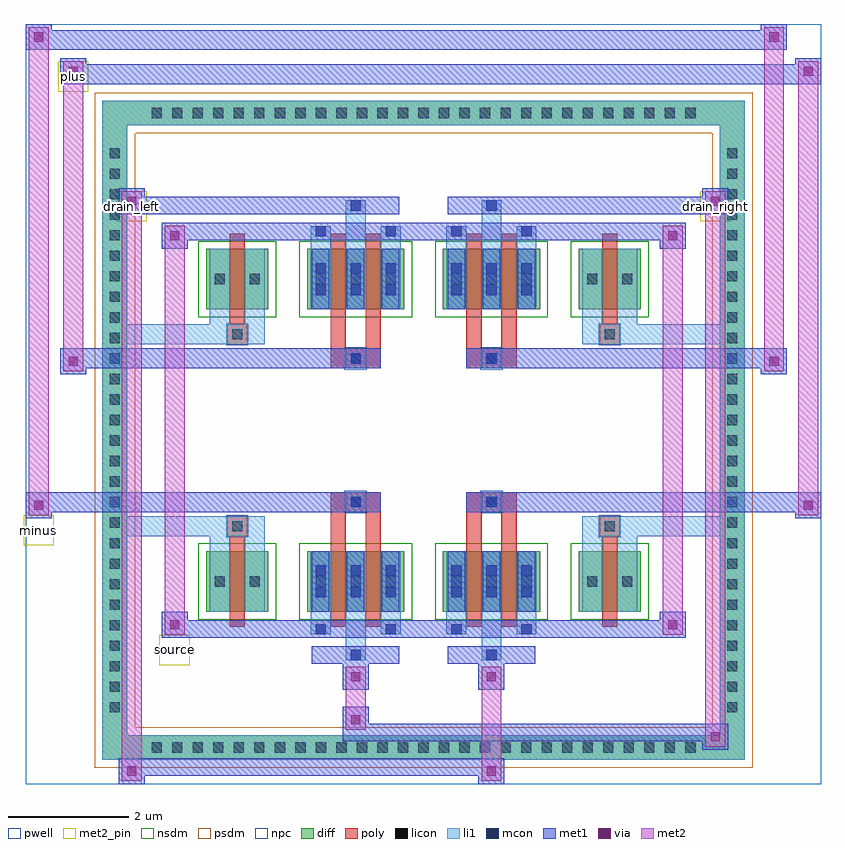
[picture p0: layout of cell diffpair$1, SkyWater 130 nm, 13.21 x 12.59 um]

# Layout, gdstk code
import gdstk
lib = gdstk.Library(unit=1e-6, precision=5e-09)
def R(c, l, rs):  # rectangles x0, y0, x1, y1
    for r in rs: c.add(gdstk.rectangle(r[:2], r[2:], *l))
def A(c, l, x, y, w, h, nx, ny, dx, dy):  # array of equal rectangles
    R(c, l, [(x+i*dx, y+j*dy, x+i*dx+w, y+j*dy+h) for i in range(nx) for j in range(ny)])
def P(c, l, *ps):  # polygons
    for p in ps: c.add(gdstk.Polygon(p, *l))
pwell = (64, 44)
diff = (65, 20)
poly = (66, 20)
licon = (66, 44)
li1 = (67, 20)
mcon = (67, 44)
met1 = (68, 20)
via = (68, 44)
met2_pin = (69, 16)
met2 = (69, 20)
nsdm = (93, 44)
psdm = (94, 20)
npc = (95, 20)

diffpair_1 = lib.new_cell('diffpair$1')
R(diffpair_1, pwell, [(-6.59,-5.86,6.59,6.73), (-3.91,-4.05,-0.01,-0.825), (0.01,-4.05,3.91,-0.825), (-3.91,0.825,-0.01,4.05), (0.01,0.825,3.91,4.05)])
A(diffpair_1, diff, -4.625, -5.46, 0.41, 0.41, 27, 2, 0.34, 10.51)
A(diffpair_1, diff, -5.32, -4.795, 0.41, 0.41, 1, 28, 0, 0.34)
A(diffpair_1, diff, 4.91, -4.795, 0.41, 0.41, 1, 28, 0, 0.34)
R(diffpair_1, diff, [(-4.625,-5.46,4.625,-5.05), (-5.32,-4.795,-4.91,4.795), (4.91,-4.795,5.32,4.795), (-3.6,-3.005,-2.57,-2.005), (-1.93,-3.005,-0.32,-2.005), (0.32,-3.005,1.93,-2.005), (2.57,-3.005,3.6,-2.005), (-3.6,2.005,-2.57,3.005), (-1.93,2.005,-0.32,3.005), (0.32,2.005,1.93,3.005), (2.57,2.005,3.6,3.005), (-4.625,5.05,4.625,5.46)])
P(diffpair_1, diff, [(5.32,5.46),(-5.32,5.46),(-5.32,-5.05),(-4.91,-5.05),(-4.91,5.05),(4.91,5.05),(4.91,-5.05),(-4.91,-5.05),(-5.32,-5.05),(-5.32,-5.46),(5.32,-5.46)])
R(diffpair_1, poly, [(-3.21,-3.255,-2.96,-1.755), (-1.54,-3.255,-1.29,-1.755), (-0.96,-3.255,-0.71,-1.755), (0.71,-3.255,0.96,-1.755), (1.29,-3.255,1.54,-1.755), (2.96,-3.255,3.21,-1.755), (-3.25,-1.755,-2.92,-1.425), (-3.25,-1.755,-2.92,-1.425), (-1.54,-1.755,-1.29,-1.355), (-0.96,-1.755,-0.71,-1.355), (0.71,-1.755,0.96,-1.355), (1.29,-1.755,1.54,-1.355), (2.92,-1.755,3.25,-1.425), (2.92,-1.755,3.25,-1.425), (-1.54,-1.355,-0.71,-1.025), (-1.29,-1.355,-0.96,-1.025), (0.71,-1.355,1.54,-1.025), (0.96,-1.355,1.29,-1.025), (-1.54,1.025,-0.71,1.355), (-1.29,1.025,-0.96,1.355), (0.71,1.025,1.54,1.355), (0.96,1.025,1.29,1.355), (-1.54,1.355,-1.29,1.755), (-0.96,1.355,-0.71,1.755), (0.71,1.355,0.96,1.755), (1.29,1.355,1.54,1.755), (-3.25,1.425,-2.92,1.755), (-3.25,1.425,-2.92,1.755), (2.92,1.425,3.25,1.755), (2.92,1.425,3.25,1.755), (-3.21,1.755,-2.96,3.255), (-1.54,1.755,-1.29,3.255), (-0.96,1.755,-0.71,3.255), (0.71,1.755,0.96,3.255), (1.29,1.755,1.54,3.255), (2.96,1.755,3.21,3.255)])
A(diffpair_1, licon, -4.505, -5.34, 0.17, 0.17, 27, 2, 0.34, 10.51)
A(diffpair_1, licon, -5.2, -4.675, 0.17, 0.17, 1, 28, 0, 0.34)
A(diffpair_1, licon, 5.03, -4.675, 0.17, 0.17, 1, 28, 0, 0.34)
A(diffpair_1, licon, -1.79, -2.59, 0.17, 0.17, 3, 2, 0.58, 5.01)
A(diffpair_1, licon, 0.46, -2.59, 0.17, 0.17, 3, 2, 0.58, 5.01)
R(diffpair_1, licon, [(-3.46,-2.59,-3.29,-2.42), (-2.88,-2.59,-2.71,-2.42), (2.71,-2.59,2.88,-2.42), (3.29,-2.59,3.46,-2.42), (-3.17,-1.675,-3,-1.505), (3,-1.675,3.17,-1.505), (-1.21,-1.275,-1.04,-1.105), (1.04,-1.275,1.21,-1.105), (-1.21,1.105,-1.04,1.275), (1.04,1.105,1.21,1.275), (-3.17,1.505,-3,1.675), (3,1.505,3.17,1.675), (-3.46,2.42,-3.29,2.59), (-2.88,2.42,-2.71,2.59), (2.71,2.42,2.88,2.59), (3.29,2.42,3.46,2.59)])
A(diffpair_1, li1, -4.585, -5.42, 0.33, 0.33, 27, 2, 0.34, 10.51)
A(diffpair_1, li1, -5.28, -4.755, 0.33, 0.33, 1, 28, 0, 0.34)
A(diffpair_1, li1, 4.95, -4.755, 0.33, 0.33, 1, 28, 0, 0.34)
A(diffpair_1, li1, -1.87, -3.005, 0.33, 1, 3, 2, 0.58, 5.01)
A(diffpair_1, li1, 0.38, -3.005, 0.33, 1, 3, 2, 0.58, 5.01)
A(diffpair_1, li1, -1.79, -2.77, 0.17, 0.17, 3, 2, 0.58, 0.36)
A(diffpair_1, li1, -1.79, -2.77, 0.17, 0.53, 3, 2, 0.58, 5.01)
A(diffpair_1, li1, 0.46, -2.77, 0.17, 0.17, 3, 2, 0.58, 0.36)
A(diffpair_1, li1, 0.46, -2.77, 0.17, 0.53, 3, 2, 0.58, 5.01)
A(diffpair_1, li1, -1.87, -2.67, 0.33, 0.33, 3, 2, 0.58, 5.01)
A(diffpair_1, li1, 0.38, -2.67, 0.33, 0.33, 3, 2, 0.58, 5.01)
A(diffpair_1, li1, -1.79, 2.24, 0.17, 0.17, 3, 2, 0.58, 0.36)
A(diffpair_1, li1, 0.46, 2.24, 0.17, 0.17, 3, 2, 0.58, 0.36)
R(diffpair_1, li1, [(-5.32,-5.46,-4.91,-5.05), (-5.32,-5.46,-4.91,-5.05), (-4.91,-5.46,4.91,-5.05), (4.91,-5.46,5.32,-5.05), (4.91,-5.46,5.32,-5.05), (-5.32,-5.05,-4.91,5.05), (4.91,-5.05,5.32,5.05), (-1.29,-3.81,-0.96,-3.005), (-1.21,-3.81,-1.04,-3.64), (0.96,-3.81,1.29,-3.005), (1.04,-3.81,1.21,-3.64), (-1.87,-3.38,-1.54,-3.005), (-1.79,-3.38,-1.62,-3.21), (-0.71,-3.38,-0.38,-3.005), (-0.63,-3.38,-0.46,-3.21), (0.38,-3.38,0.71,-3.005), (0.46,-3.38,0.63,-3.21), (1.54,-3.38,1.87,-3.005), (1.62,-3.38,1.79,-3.21), (-3.54,-3.005,-3.21,-2.005), (-2.96,-3.005,-2.63,-2.005), (2.63,-3.005,2.96,-2.005), (3.21,-3.005,3.54,-2.005), (-3.54,-2.67,-3.21,-2.34), (-2.96,-2.67,-2.63,-2.34), (2.63,-2.67,2.96,-2.34), (3.21,-2.67,3.54,-2.34), (-3.54,-2.005,-3.21,-1.425), (-2.96,-2.005,-2.63,-1.425), (2.63,-2.005,2.96,-1.425), (3.21,-2.005,3.54,-1.425), (-5.32,-1.755,-3.25,-1.425), (-3.54,-1.755,-3.25,-1.425), (-3.25,-1.755,-2.92,-1.425), (-2.92,-1.755,-2.63,-1.425), (2.63,-1.755,2.92,-1.425), (2.92,-1.755,3.25,-1.425), (2.92,-1.755,5.32,-1.425), (3.25,-1.755,3.54,-1.425), (-1.29,-1.355,-0.96,-1.025), (0.96,-1.355,1.29,-1.025), (-1.29,1.025,-0.96,1.355), (0.96,1.025,1.29,1.355), (-5.32,1.425,-3.25,1.755), (-3.54,1.425,-3.25,1.755), (-3.54,1.425,-3.21,2.005), (-3.25,1.425,-2.92,1.755), (-2.96,1.425,-2.63,2.005), (-2.92,1.425,-2.63,1.755), (2.63,1.425,2.92,1.755), (2.63,1.425,2.96,2.005), (2.92,1.425,3.25,1.755), (2.92,1.425,5.32,1.755), (3.21,1.425,3.54,2.005), (3.25,1.425,3.54,1.755), (-3.54,2.005,-3.21,3.005), (-2.96,2.005,-2.63,3.005), (2.63,2.005,2.96,3.005), (3.21,2.005,3.54,3.005), (-3.54,2.34,-3.21,2.67), (-2.96,2.34,-2.63,2.67), (2.63,2.34,2.96,2.67), (3.21,2.34,3.54,2.67), (-1.87,3.005,-1.54,3.38), (-1.29,3.005,-0.96,3.81), (-0.71,3.005,-0.38,3.38), (0.38,3.005,0.71,3.38), (0.96,3.005,1.29,3.81), (1.54,3.005,1.87,3.38), (-1.79,3.21,-1.62,3.38), (-0.63,3.21,-0.46,3.38), (0.46,3.21,0.63,3.38), (1.62,3.21,1.79,3.38), (-1.21,3.64,-1.04,3.81), (1.04,3.64,1.21,3.81), (-5.32,5.05,-4.91,5.46), (-5.32,5.05,-4.91,5.46), (-4.91,5.05,4.91,5.46), (4.91,5.05,5.32,5.46), (4.91,5.05,5.32,5.46)])
A(diffpair_1, mcon, -1.79, -2.77, 0.17, 0.17, 3, 2, 0.58, 0.36)
A(diffpair_1, mcon, 0.46, -2.77, 0.17, 0.17, 3, 2, 0.58, 0.36)
A(diffpair_1, mcon, -1.79, 2.24, 0.17, 0.17, 3, 2, 0.58, 0.36)
A(diffpair_1, mcon, 0.46, 2.24, 0.17, 0.17, 3, 2, 0.58, 0.36)
R(diffpair_1, mcon, [(-1.21,-3.81,-1.04,-3.64), (1.04,-3.81,1.21,-3.64), (-1.79,-3.38,-1.62,-3.21), (-0.63,-3.38,-0.46,-3.21), (0.46,-3.38,0.63,-3.21), (1.62,-3.38,1.79,-3.21), (-1.21,-1.275,-1.04,-1.105), (1.04,-1.275,1.21,-1.105), (-1.21,1.105,-1.04,1.275), (1.04,1.105,1.21,1.275), (-1.79,3.21,-1.62,3.38), (-0.63,3.21,-0.46,3.38), (0.46,3.21,0.63,3.38), (1.62,3.21,1.79,3.38), (-1.21,3.64,-1.04,3.81), (1.04,3.64,1.21,3.81)])
A(diffpair_1, met1, -1.85, -3.005, 0.29, 1, 3, 2, 0.58, 5.01)
A(diffpair_1, met1, 0.4, -3.005, 0.29, 1, 3, 2, 0.58, 5.01)
A(diffpair_1, met1, -1.85, -2.83, 0.29, 0.29, 3, 2, 0.58, 0.36)
A(diffpair_1, met1, 0.4, -2.83, 0.29, 0.29, 3, 2, 0.58, 0.36)
A(diffpair_1, met1, -1.85, 2.18, 0.29, 0.29, 3, 2, 0.58, 0.36)
A(diffpair_1, met1, 0.4, 2.18, 0.29, 0.29, 3, 2, 0.58, 0.36)
R(diffpair_1, met1, [(-5.05,-5.86,-4.62,-5.43), (0.91,-5.86,1.34,-5.43), (-5.05,-5.72,1.34,-5.43), (4.62,-5.29,5.05,-4.86), (-1.34,-5.15,5.05,-4.86), (-1.34,-5.01,-0.91,-4.58), (-1.34,-4.3,-0.91,-3.87), (0.91,-4.3,1.34,-3.87), (-1.85,-3.87,-0.4,-3.58), (-1.27,-3.87,-0.98,-3.58), (0.4,-3.87,1.85,-3.58), (0.98,-3.87,1.27,-3.58), (-4.34,-3.44,-3.91,-3.01), (-4.34,-3.44,-1.85,-3.15), (-1.85,-3.44,-1.56,-3.15), (-1.85,-3.44,-0.4,-3.15), (-0.69,-3.44,-0.4,-3.15), (-0.4,-3.44,0.4,-3.15), (0.4,-3.44,0.69,-3.15), (0.4,-3.44,1.85,-3.15), (1.56,-3.44,1.85,-3.15), (1.85,-3.44,4.34,-3.15), (3.91,-3.44,4.34,-3.01), (-6.59,-1.455,-6.16,-1.025), (6.16,-1.455,6.59,-1.025), (-6.59,-1.355,-0.71,-1.025), (-1.54,-1.355,-0.71,-1.025), (0.71,-1.355,1.54,-1.025), (0.71,-1.355,6.59,-1.025), (-1.27,-1.335,-0.98,-1.045), (0.98,-1.335,1.27,-1.045), (-6.02,0.925,-5.59,1.355), (5.59,0.925,6.02,1.355), (-6.02,1.025,-1.54,1.355), (-1.54,1.025,-0.71,1.355), (0.71,1.025,1.54,1.355), (1.54,1.025,6.02,1.355), (-1.27,1.045,-0.98,1.335), (0.98,1.045,1.27,1.335), (-4.34,3.01,-3.91,3.44), (3.91,3.01,4.34,3.44), (-4.34,3.15,-1.85,3.44), (-1.85,3.15,-1.56,3.44), (-1.85,3.15,-0.4,3.44), (-0.69,3.15,-0.4,3.44), (-0.4,3.15,0.4,3.44), (0.4,3.15,0.69,3.44), (0.4,3.15,1.85,3.44), (1.56,3.15,1.85,3.44), (1.85,3.15,4.34,3.44), (-5.05,3.58,-4.62,4.01), (-5.05,3.58,-1.85,3.87), (-1.85,3.58,-0.4,3.87), (-1.27,3.58,-0.98,3.87), (0.4,3.58,1.85,3.87), (0.98,3.58,1.27,3.87), (1.85,3.58,5.05,3.87), (4.62,3.58,5.05,4.01), (-6.02,5.73,-5.59,6.16), (-6.02,5.73,-3.91,6.06), (-3.91,5.73,3.91,6.06), (3.91,5.73,6.59,6.06), (6.16,5.73,6.59,6.16), (-6.59,6.3,-6.16,6.73), (-6.59,6.3,-3.91,6.63), (-3.91,6.3,3.91,6.63), (3.91,6.3,6.02,6.63), (5.59,6.3,6.02,6.73)])
R(diffpair_1, via, [(-4.91,-5.72,-4.76,-5.57), (1.05,-5.72,1.2,-5.57), (4.76,-5.15,4.91,-5), (-1.2,-4.87,-1.05,-4.72), (-1.2,-4.16,-1.05,-4.01), (1.05,-4.16,1.2,-4.01), (-4.2,-3.3,-4.05,-3.15), (4.05,-3.3,4.2,-3.15), (-6.45,-1.315,-6.3,-1.165), (6.3,-1.315,6.45,-1.165), (-5.88,1.065,-5.73,1.215), (5.73,1.065,5.88,1.215), (-4.2,3.15,-4.05,3.3), (4.05,3.15,4.2,3.3), (-4.91,3.72,-4.76,3.87), (4.76,3.72,4.91,3.87), (-5.88,5.87,-5.73,6.02), (6.3,5.87,6.45,6.02), (-6.45,6.44,-6.3,6.59), (5.73,6.44,5.88,6.59)])
R(diffpair_1, met2_pin, [(-4.375,-3.89,-3.875,-3.39), (-6.625,-1.905,-6.125,-1.405), (-5.085,3.46,-4.585,3.96), (4.585,3.46,5.085,3.96), (-6.055,5.61,-5.555,6.11)])
R(diffpair_1, met2, [(-5,-5.81,-4.67,-5.48), (-5,-5.81,-4.67,3.96), (0.96,-5.81,1.29,-5.48), (0.96,-5.48,1.29,-4.25), (4.67,-5.24,5,-4.91), (4.67,-5.24,5,3.96), (-1.29,-4.96,-0.96,-4.63), (-1.29,-4.63,-0.96,-4.25), (-1.29,-4.25,-0.96,-3.92), (0.96,-4.25,1.29,-3.92), (-4.29,-3.39,-3.96,-3.06), (-4.29,-3.39,-3.96,3.39), (3.96,-3.39,4.29,-3.06), (3.96,-3.39,4.29,3.39), (-6.54,-1.405,-6.21,-1.075), (-6.54,-1.405,-6.21,6.68), (6.21,-1.405,6.54,-1.075), (6.21,-1.405,6.54,6.11), (-5.97,0.975,-5.64,1.305), (-5.97,0.975,-5.64,6.11), (5.64,0.975,5.97,1.305), (5.64,0.975,5.97,6.68), (-4.29,3.06,-3.96,3.39), (3.96,3.06,4.29,3.39), (-5,3.63,-4.67,3.96), (4.67,3.63,5,3.96), (-5.97,5.78,-5.64,6.11), (6.21,5.78,6.54,6.11), (-6.54,6.35,-6.21,6.68), (5.64,6.35,5.97,6.68)])
P(diffpair_1, met2, [(6.54,-1.405),(6.54,-1.405),(6.54,-1.075),(6.54,-1.075)],
  [(6.54,5.78),(6.54,5.78),(6.54,6.11),(6.54,6.11)],
  [(-6.21,-1.405),(-6.21,-1.405),(-6.21,-1.075),(-6.21,-1.075)],
  [(-6.21,6.35),(-6.21,6.35),(-6.21,6.68),(-6.21,6.68)],
  [(5.97,0.975),(5.97,0.975),(5.97,1.305),(5.97,1.305)],
  [(5.97,6.35),(5.97,6.35),(5.97,6.68),(5.97,6.68)],
  [(-5.64,0.975),(-5.64,0.975),(-5.64,1.305),(-5.64,1.305)],
  [(-5.64,5.78),(-5.64,5.78),(-5.64,6.11),(-5.64,6.11)],
  [(-4.67,-5.81),(-4.67,-5.81),(-4.67,-5.48),(-4.67,-5.48)],
  [(-4.67,3.63),(-4.67,3.63),(-4.67,3.96),(-4.67,3.96)],
  [(5,-5.24),(5,-5.24),(5,-4.91),(5,-4.91)],
  [(5,3.63),(5,3.63),(5,3.96),(5,3.96)],
  [(-3.96,-3.39),(-3.96,-3.39),(-3.96,-3.06),(-3.96,-3.06)],
  [(-3.96,3.06),(-3.96,3.06),(-3.96,3.39),(-3.96,3.39)],
  [(4.29,-3.39),(4.29,-3.39),(4.29,-3.06),(4.29,-3.06)],
  [(4.29,3.06),(4.29,3.06),(4.29,3.39),(4.29,3.39)])
R(diffpair_1, nsdm, [(-3.73,-3.135,-2.44,-1.875), (-2.06,-3.135,-0.19,-1.875), (0.19,-3.135,2.06,-1.875), (2.44,-3.135,3.73,-1.875), (-3.73,1.875,-2.44,3.135), (-2.06,1.875,-0.19,3.135), (0.19,1.875,2.06,3.135), (2.44,1.875,3.73,3.135)])
P(diffpair_1, psdm, [(5.45,5.59),(-5.45,5.59),(-5.45,-4.92),(-4.78,-4.92),(-4.78,4.92),(4.78,4.92),(4.78,-4.92),(-4.78,-4.92),(-5.45,-4.92),(-5.45,-5.59),(5.45,-5.59)])
R(diffpair_1, npc, [(-3.27,-1.775,-2.9,-1.405), (2.9,-1.775,3.27,-1.405), (-1.31,-1.375,-0.94,-1.005), (0.94,-1.375,1.31,-1.005), (-1.31,1.005,-0.94,1.375), (0.94,1.005,1.31,1.375), (-3.27,1.405,-2.9,1.775), (2.9,1.405,3.27,1.775)])
diffpair_1.add(gdstk.Label('minus', (-6.375,-1.655), layer=69, texttype=5))
diffpair_1.add(gdstk.Label('drain_right', (4.835,3.71), layer=69, texttype=5))
diffpair_1.add(gdstk.Label('drain_left', (-4.835,3.71), layer=69, texttype=5))
diffpair_1.add(gdstk.Label('source', (-4.125,-3.64), layer=69, texttype=5))
diffpair_1.add(gdstk.Label('plus', (-5.805,5.86), layer=69, texttype=5))

lib.write_gds('diffpair_1.gds')
